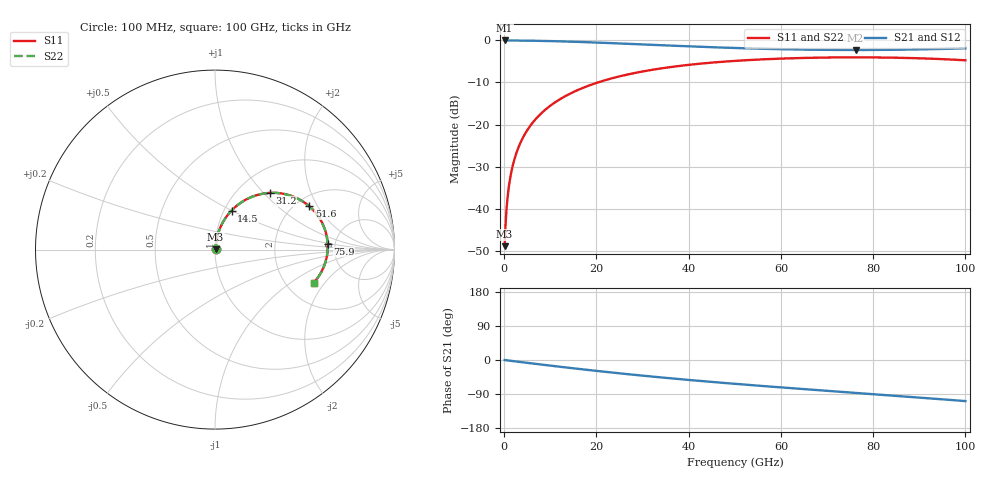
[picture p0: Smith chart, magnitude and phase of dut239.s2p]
! Touchstone file exported from HFSS 2026.1.0
!  File:  C:/ffzhzh/LocalFiles/Ansys_Project_Files/temp_train_RDL_239_1783501325_55944.aedt
!  Generated:  05:03:13 PM Jul  8, 2026
!  Design:  RDL
!  Project:  temp_train_RDL_239_1783501325_55944
! Variables:
!  h_bsmrdl = 2um
!  h_ox = 20um
!  h_rdl = 5um
!  h_sub = 80um
!  h_tmrdl = 2.45um
!  h_tsv = 80um
!  h_via = 3um
!  l_bsmrdl = 300um
!  l_sub = 761.32um
!  l_tmrdl = 361.32um
!  m_sub = 200um
!  pitch = 48.25um
!  r_tsv = 6um
!  s_tmrdl = 10um
!  w_bsmrdl = 18um
!  w_sub = 500um
!  w_tmrdl = 18.19um
!  x_tsv_center1 = 370.415um
!  x_tsv_center2 = 688.415um
!  x_tsv_center3 = 1067.925um
!  x_tsv_center4 = 1385.925um
!  x_tsv_center5 = 1765.435um
!  x_tsv_center6 = 2083.435um
# GHz S MA R 50.000000
! Terminal data exported
! Port[1] = TM_RDL1_1_T1
! Port[2] = TM_RDL1_1_T2
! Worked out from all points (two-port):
!   1000 points, 100 MHz to 100 GHz, reference 50 ohm
!   highest |S21| = -0.03 dB at 100 MHz (marker M1); lowest = -2.3 dB at 76.2 GHz (marker M2)
!   |S21| within 3 dB of the highest: start of sweep to end of sweep
!   lowest |S11| = -48.8 dB at 100 MHz (marker M3), VSWR 1.01, Z = 50.3 + j0.187 ohm
!   |S11| at or under -10 dB: start of sweep to 20.29 GHz
!   |S22| runs from -48.8 to -4.0 dB; largest |S21 - S12| = 1.4e-14
!   S11 on the Smith chart (normalised r, x): 100 MHz: 1.01, +0.00; 14.5 GHz: 1.08, +0.50; 31.2 GHz: 1.38, +1.08; 51.6 GHz: 2.34, +1.70; 75.9 GHz: 4.33, +0.48; 100 GHz: 2.80, -1.56
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0.1  0.003618 30.8  0.9969 -0.2  0.9969 -0.2  0.003618 30.8
! Gamma 0 0 0 0
! Port Impedance 50 0 50 0
0.4  0.008029 64.8  0.9966 -0.6  0.9966 -0.6  0.008029 64.8
0.9  0.01636 75.6  0.9962 -1.4  0.9962 -1.4  0.01636 75.6
1.4  0.02478 78.9  0.9958 -2.1  0.9958 -2.1  0.02478 78.9
1.9  0.03325 80.3  0.9955 -2.9  0.9955 -2.9  0.03325 80.3
2.4  0.04175 80.8  0.9951 -3.6  0.9951 -3.6  0.04175 80.8
3.7  0.06383 80.6  0.9937 -5.6  0.9937 -5.6  0.06383 80.6
5.5  0.09415 78.9  0.9909 -8.3  0.9909 -8.3  0.09415 78.9
7.9  0.1338 76.0  0.9857 -11.8  0.9857 -11.8  0.1338 75.9
10.9  0.1817 71.9  0.9772 -16.1  0.9772 -16.1  0.1817 71.9
14.5  0.2363 67.0  0.9646 -21.2  0.9646 -21.2  0.2363 67.0
16.8  0.2692 64.0  0.9554 -24.4  0.9554 -24.4  0.2692 63.9
23.3  0.3537 55.6  0.9265 -33.0  0.9265 -33.0  0.3537 55.5
31.2  0.4388 46.1  0.8889 -42.7  0.8889 -42.7  0.4388 46.0
33.4  0.4592 43.6  0.8786 -45.3  0.8786 -45.3  0.4592 43.5
50.1  0.5709 26.2  0.8112 -62.9  0.8112 -62.9  0.5709 26.1
51.6  0.5777 24.8  0.8065 -64.4  0.8065 -64.4  0.5777 24.7
66.7  0.6214 11.0  0.7741 -78.3  0.7741 -78.3  0.6214 10.9
75.9  0.6286 3.0  0.7683 -86.5  0.7683 -86.5  0.6285 2.9
76.2  0.6286 2.8  0.7683 -86.7  0.7683 -86.7  0.6286 2.7
83.4  0.6242 -3.5  0.7717 -93.1  0.7717 -93.1  0.6242 -3.6
100  0.5798 -18.6  0.8041 -108.5  0.8041 -108.5  0.5797 -18.7
